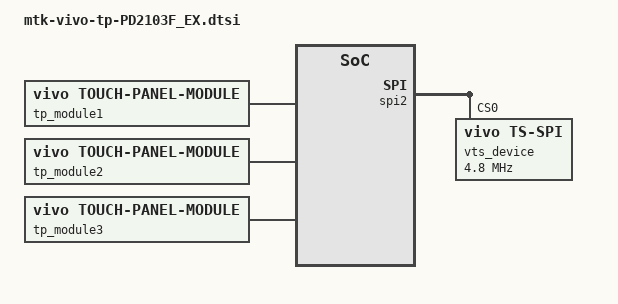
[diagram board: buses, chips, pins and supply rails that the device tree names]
/*********************touch screen config *************************/
&touchscreencfg { /* vivo ts configure */
	tp_module1 {
		compatible = "vivo,touch-panel-module";
		vts-ic-number=<81>;
		vts-type=<0>;
		vts-lcmid=<48>;
		vts-dimention-x=<1080>;
		vts-dimention-y=<2408>;
		vts-tx-sensors=<18>;
		vts-rx-sensors=<32>;
		vts-gesture=<1>;
		vts-incell=<1>;
		vts-need-caliberation=<0>;
		vts-virtual-proximinity=<0>;
		vts-long-press=<0>;
		vts-module-vendor=<0xF0>;
		vts-no-flash=<1>;
		vts-game-mode=<1>;
		vts-game-idle-time=<10>;
		vts-report-timestamp=<1>;
	};

	tp_module2 {
		compatible = "vivo,touch-panel-module";
		vts-ic-number=<81>;
		vts-type=<0>;
		vts-lcmid=<18>;		//1211724
		vts-dimention-x=<1080>;
		vts-dimention-y=<2408>;
		vts-tx-sensors=<16>;
		vts-rx-sensors=<36>;
		vts-gesture=<1>;
		vts-incell=<1>;
		vts-need-caliberation=<0>;
		vts-virtual-proximinity=<0>;
		vts-long-press=<0>;
		vts-module-vendor=<0xF0>;
		vts-no-flash=<1>;
		vts-game-mode=<1>;
		vts-game-idle-time=<10>;
		vts-report-timestamp=<1>;
	};

	tp_module3 {
		compatible = "vivo,touch-panel-module";
		vts-ic-number=<36>;
		vts-type=<0>;
		vts-lcmid=<65>;		//1211710
		vts-dimention-x=<1080>;
		vts-dimention-y=<2408>;
		vts-tx-sensors=<16>;
		vts-rx-sensors=<36>;
		vts-gesture=<1>;
		vts-incell=<1>;
		vts-need-caliberation=<0>;
		vts-virtual-proximinity=<0>;
		vts-long-press=<0>;
		vts-module-vendor=<0xF0>;
		vts-no-flash=<1>;
		vts-game-mode=<1>;
		vts-game-idle-time=<10>;
		vts-report-timestamp=<1>;
	};
};

&pio {
	spi_driving_set_cfg:spi_driving_set { 
		pins_cmd_dat { 
			pinmux = <PINMUX_GPIO25__FUNC_SPI2_CSB>,
					<PINMUX_GPIO28__FUNC_SPI2_MI>,
					<PINMUX_GPIO26__FUNC_SPI2_MO>;
			drive-strength = <2>; //0:2mA 1:4mA 2:6mA 3:8mA 4:10mA 5:12mA 6:14mA 7:16mA
		}; 
	};

	clk_driving_set_cfg:clk_driving_set {
		pins_cmd_dat {
			pinmux = <PINMUX_GPIO27__FUNC_SPI2_CLK>;
			drive-strength = <3>; //0:2mA 1:4mA 2:6mA 3:8mA 4:10mA 5:12mA 6:14mA 7:16mA
		};
	};
};

&spi2 {
	#address-cells = <1>;
	#size-cells = <0>;
	pinctrl-names ="default";
	pinctrl-0 = <&spi_driving_set_cfg &clk_driving_set_cfg>;

	vts_device@0 {
		compatible = "vivo,ts-spi";
		status = "okay";
		reg=<0>;
		spi-max-frequency = <4800000>;

		mediatek,kthread-rt = <1>;
		nt36672 {
			compatible = "novatek,NVT-ts-spi-v2";
			status = "ok";

			vts-type=<0>;
			vts-ic-number=<81>;
			spi-max-frequency = <9600000>;	//4800000,9600000,15000000,19200000
			novatek,reset-gpio = <&pio 23 0x00>;
			novatek,irq-gpio = <&pio 1 0x2001>;
			//novatek,cs-gpio = <&pio 98 0x00>;
			//novatek,miso-gpio = <&pio 12 0x00>;
			sensor-test-key="com.nttouchscreen.mptest:MainActivity:android.intent.action.novatek:0:testResult";
			lcm-noise-test-key="com.nt36xxxtouchscreen.deltadiff:MainActivity:null:null:null";
			rawdata-test-key="com.nttouchscreen.getdata:MainActivity:null:null:null";
			rf-noise-test-key="com.nt36xxxtouchscreen.deltadiff:BspTest:android.intent.action.nvtdeltadiff:0:testResult";

			novatek,swrst-n8-addr = <0x03F0FE>;
			//vts-incell-panel = <&dsi_nt36675_tm_fhdplus_video &dsi_ft8756_truly_fhdplus_video &dsi_nt36672c_tm657_dsc_fhdplus_video>;
		};

		ili9881h {
			compatible = "ilitek,ILI-ts-spi-v2";
			status = "ok";
			vts-type=<0>;
			vts-ic-number=<90>;
			spi-max-frequency = <9600000>;	//4800000,9600000,15000000,19200000
			ilitek,reset-gpio = <&pio 23 0x00>;
			ilitek,irq-gpio = <&pio 1 0x02>;

			sensor-test-key="com.ilitek.touchscreen.tptest:MainActivity:com.ilitek.touchscreen.action.tptest:0:ILITEK_TpTestResult";
			lcm-noise-test-key="com.ilitek.touchscreen.noisev2:MainActivity:null:null:null"; 
			rawdata-test-key="com.ilitek.touchscreen.noisev2:DataShowActivity:null:null:null";
			rf-noise-test-key="com.ilitek.touchscreen.noisev2:BspTestActivity:com.ilitek.touchscreen.action.noisetest:0:ILITEK_TpTestResult";
			
		};

		ft8656 {
			compatible = "focaltech,ft8756_v2";
			vts-type=<0>;
			vts-ic-number=<39>;
			spi-max-frequency = <6000000>;	//4800000,9600000,15000000,19200000
			focaltech,reset-gpio = <&pio 23 0x00>;
			focaltech,irq-gpio = <&pio 1 0x02>;
			focaltech,max-touch-number = <10>;
			focaltech,display-coords = <0 0 720 1600>;
			//focaltech,ic_name = "ft8016";//DEFAULT 8756
			sensor-test-key="com.focaltouchscreen.sensortest:MainActivity:com.focaltouchscreen.sensortest:0:focal_test_result";
			lcm-noise-test-key="com.focaltech.deltadiff:MainActivity:null:null:null";
			rawdata-test-key="com.focaltech.deltadiff:DataActivity:null:null:null";
			rf-noise-test-key="com.focaltech.deltadiff:BspTestActivity:com.focaltech.deltadiff:0:testResult";
			//vts-incell-panel=<&dsi_pd2034_auo_ft8016_hdplus_video>;
		};

		ili_9882n {
			status = "okay";
			compatible = "tchip,ilitek";
			vts-type=<0>;
			vts-ic-number=<91>;
			spi-max-frequency = <9600000>;
			touch,reset-gpio = <&pio 23 0x00>;
			touch,irq-gpio = <&pio 1 0x02>;

			sensor-test-key="com.ilitek.touchscreen.tptest3X:MP3XActivity:com.ilitek.touchscreen.action.tptest:0:ILITEK_TpTestResult";
			lcm-noise-test-key="com.ilitek.touchscreen.noisev2:MainActivity:null:null:null"; 
			rawdata-test-key="com.ilitek.touchscreen.noisev2:DataShowActivity:null:null:null";
			rf-noise-test-key="com.ilitek.touchscreen.noisev2:BspTestActivity:com.ilitek.touchscreen.action.noisetest:0:ILITEK_TpTestResult";
			//vts-incell-panel=<&dsi_pd2034_tm_ili9882n_hdplus_video>;
		};

		ft8719 {
			compatible = "focaltech,ft8719_v2";
			status = "okay";

			vts-type=<0>;
			vts-ic-number=<36>;
			spi-max-frequency = <6000000>;	//4800000,9600000,15000000,19200000
			focaltech,reset-gpio = <&pio 23 0x00>;
			focaltech,irq-gpio = <&pio 1 0x02>;
			//focaltech,cs-gpio = <&pio 21 0x00>;
			focaltech,max-touch-number = <10>;
			focaltech,display-coords = <0 0 1080 2408>;

			sensor-test-key="com.focaltouchscreen.sensortest:MainActivity:com.focaltouchscreen.sensortest:0:focal_test_result";
			lcm-noise-test-key="com.focaltech.deltadiff:MainActivity:null:null:null";
			rawdata-test-key="com.focaltech.deltadiff:DataActivity:null:null:null";
			rf-noise-test-key="com.focaltech.deltadiff:BspTestActivity:com.focaltech.deltadiff:0:testResult";
		};
	};
};

